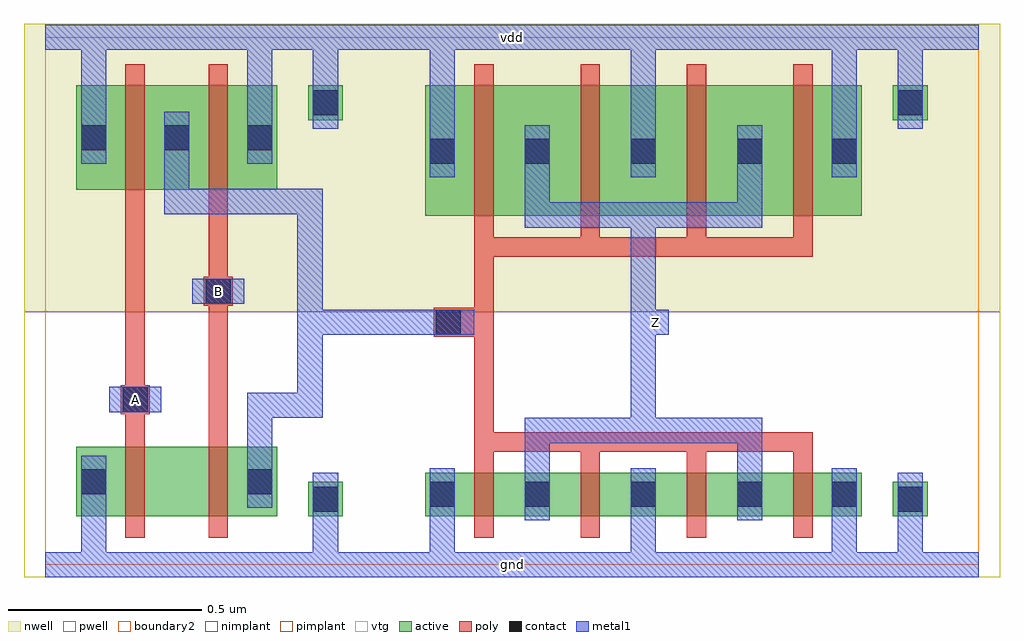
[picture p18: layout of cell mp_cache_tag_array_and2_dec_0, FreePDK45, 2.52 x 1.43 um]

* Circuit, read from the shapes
.subckt mp_cache_tag_array_and2_dec_0 A B Z gnd vdd
M1 mp_cache_tag_array_pnand2_0/mp_cache_tag_array_nmos_m1_w0_180_sm1_dactive_2/D A gnd gnd nfet w=0.18u l=0.05u
M2 mp_cache_tag_array_pinv_0_1/A B mp_cache_tag_array_pnand2_0/mp_cache_tag_array_nmos_m1_w0_180_sm1_dactive_2/D gnd nfet w=0.18u l=0.05u
M3 Z mp_cache_tag_array_pinv_0_1/A gnd gnd nfet w=0.1125u l=0.05u m=4
M4 mp_cache_tag_array_pinv_0_1/A A vdd vdd pfet w=0.27u l=0.05u
M5 vdd B mp_cache_tag_array_pinv_0_1/A vdd pfet w=0.27u l=0.05u
M6 Z mp_cache_tag_array_pinv_0_1/A vdd vdd pfet w=0.3375u l=0.05u m=4
.ends

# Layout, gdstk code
import gdstk
lib = gdstk.Library(unit=1e-6, precision=5e-10)
def R(c, l, rs):  # rectangles x0, y0, x1, y1
    for r in rs: c.add(gdstk.rectangle(r[:2], r[2:], *l))
def A(c, l, x, y, w, h, nx, ny, dx, dy):  # array of equal rectangles
    R(c, l, [(x+i*dx, y+j*dy, x+i*dx+w, y+j*dy+h) for i in range(nx) for j in range(ny)])
active = (1, 0)
pwell = (2, 0)
nwell = (3, 0)
nimplant = (4, 0)
pimplant = (5, 0)
vtg = (6, 0)
poly = (9, 0)
contact = (10, 0)
metal1 = (11, 0)
boundary2 = (239, 0)

mp_cache_tag_array_conta = lib.new_cell('mp_cache_tag_array_contact_11')
R(mp_cache_tag_array_conta, active, [(0,0.0225,0.09,0.1125)])
R(mp_cache_tag_array_conta, nwell, [(-0.055,-0.0325,0.145,0.1675)])
R(mp_cache_tag_array_conta, pimplant, [(0,0.0225,0.09,0.1125)])
R(mp_cache_tag_array_conta, contact, [(0.0125,0.035,0.0775,0.1)])
R(mp_cache_tag_array_conta, metal1, [(0.0125,0,0.0775,0.135)])
R(mp_cache_tag_array_conta, boundary2, [(-0.055,-0.0325,0.145,0.1675)])

mp_cache_tag_array_pmos_ = lib.new_cell('mp_cache_tag_array_pmos_m1_w0_270_sm1_dm1')
R(mp_cache_tag_array_pmos_, active, [(0,0,0.305,0.27)])
R(mp_cache_tag_array_pmos_, nwell, [(-0.08,-0.08,0.385,0.35)])
R(mp_cache_tag_array_pmos_, pimplant, [(0,0,0.305,0.27)])
R(mp_cache_tag_array_pmos_, vtg, [(-0.08,-0.08,0.385,0.35)])
R(mp_cache_tag_array_pmos_, poly, [(0.1275,-0.055,0.1775,0.325), (0.1275,-0.055,0.1775,0.325)])
R(mp_cache_tag_array_pmos_, metal1, [(0.0125,0.0675,0.0775,0.2025), (0.2275,0.0675,0.2925,0.2025)])
R(mp_cache_tag_array_pmos_, boundary2, [(-0.08,-0.08,0.385,0.35)])
mp_cache_tag_array_pmos_.add(gdstk.Reference(mp_cache_tag_array_conta, (0,0.0675)))
mp_cache_tag_array_pmos_.add(gdstk.Reference(mp_cache_tag_array_conta, (0.215,0.0675)))
mp_cache_tag_array_pmos_.add(gdstk.Label('G', (0.1525,0.135), layer=9, texttype=0))
mp_cache_tag_array_pmos_.add(gdstk.Label('S', (0.045,0.135), layer=11, texttype=0))
mp_cache_tag_array_pmos_.add(gdstk.Label('D', (0.26,0.135), layer=11, texttype=0))

c_mp_cache_tag_array_conta = lib.new_cell('mp_cache_tag_array_contact_10')
R(c_mp_cache_tag_array_conta, active, [(0,0.0225,0.09,0.1125)])
R(c_mp_cache_tag_array_conta, pwell, [(-0.055,-0.0325,0.145,0.1675)])
R(c_mp_cache_tag_array_conta, nimplant, [(0,0.0225,0.09,0.1125)])
R(c_mp_cache_tag_array_conta, contact, [(0.0125,0.035,0.0775,0.1)])
R(c_mp_cache_tag_array_conta, metal1, [(0.0125,0,0.0775,0.135)])
R(c_mp_cache_tag_array_conta, boundary2, [(-0.055,-0.0325,0.145,0.1675)])

mp_cache_tag_array_nmos_ = lib.new_cell('mp_cache_tag_array_nmos_m1_w0_180_sm1_dactive')
R(mp_cache_tag_array_nmos_, active, [(0,0,0.305,0.18), (0.215,0.045,0.305,0.135)])
R(mp_cache_tag_array_nmos_, pwell, [(-0.08,-0.08,0.385,0.26)])
R(mp_cache_tag_array_nmos_, nimplant, [(0,0,0.305,0.18)])
R(mp_cache_tag_array_nmos_, vtg, [(-0.08,-0.08,0.385,0.26)])
R(mp_cache_tag_array_nmos_, poly, [(0.1275,-0.055,0.1775,0.235), (0.1275,-0.055,0.1775,0.235)])
R(mp_cache_tag_array_nmos_, metal1, [(0.0125,0.0225,0.0775,0.1575)])
R(mp_cache_tag_array_nmos_, boundary2, [(-0.08,-0.08,0.385,0.26)])
mp_cache_tag_array_nmos_.add(gdstk.Reference(c_mp_cache_tag_array_conta, (0,0.0225)))
mp_cache_tag_array_nmos_.add(gdstk.Label('G', (0.1525,0.09), layer=9, texttype=0))
mp_cache_tag_array_nmos_.add(gdstk.Label('S', (0.045,0.09), layer=11, texttype=0))
mp_cache_tag_array_nmos_.add(gdstk.Label('D', (0.26,0.09), layer=1, texttype=0))

c_mp_cache_tag_array_nmos_ = lib.new_cell('mp_cache_tag_array_nmos_m1_w0_180_sactive_dm1')
R(c_mp_cache_tag_array_nmos_, active, [(0,0,0.305,0.18), (0,0.045,0.09,0.135)])
R(c_mp_cache_tag_array_nmos_, pwell, [(-0.08,-0.08,0.385,0.26)])
R(c_mp_cache_tag_array_nmos_, nimplant, [(0,0,0.305,0.18)])
R(c_mp_cache_tag_array_nmos_, vtg, [(-0.08,-0.08,0.385,0.26)])
R(c_mp_cache_tag_array_nmos_, poly, [(0.1275,-0.055,0.1775,0.235), (0.1275,-0.055,0.1775,0.235)])
R(c_mp_cache_tag_array_nmos_, metal1, [(0.2275,0.0225,0.2925,0.1575)])
R(c_mp_cache_tag_array_nmos_, boundary2, [(-0.08,-0.08,0.385,0.26)])
c_mp_cache_tag_array_nmos_.add(gdstk.Reference(c_mp_cache_tag_array_conta, (0.215,0.0225)))
c_mp_cache_tag_array_nmos_.add(gdstk.Label('G', (0.1525,0.09), layer=9, texttype=0))
c_mp_cache_tag_array_nmos_.add(gdstk.Label('S', (0.045,0.09), layer=1, texttype=0))
c_mp_cache_tag_array_nmos_.add(gdstk.Label('D', (0.26,0.09), layer=11, texttype=0))

c_mp_cache_tag_array_conta_ = lib.new_cell('mp_cache_tag_array_contact_12')
R(c_mp_cache_tag_array_conta_, active, [(0,0.0225,0.09,0.1125)])
R(c_mp_cache_tag_array_conta_, nwell, [(-0.055,-0.0325,0.145,0.1675)])
R(c_mp_cache_tag_array_conta_, nimplant, [(0,0.0225,0.09,0.1125)])
R(c_mp_cache_tag_array_conta_, contact, [(0.0125,0.035,0.0775,0.1)])
R(c_mp_cache_tag_array_conta_, metal1, [(0.0125,0,0.0775,0.135)])
R(c_mp_cache_tag_array_conta_, boundary2, [(-0.055,-0.0325,0.145,0.1675)])

c_mp_cache_tag_array_conta__ = lib.new_cell('mp_cache_tag_array_contact_13')
R(c_mp_cache_tag_array_conta__, active, [(0,0.0225,0.09,0.1125)])
R(c_mp_cache_tag_array_conta__, pwell, [(-0.055,-0.0325,0.145,0.1675)])
R(c_mp_cache_tag_array_conta__, pimplant, [(0,0.0225,0.09,0.1125)])
R(c_mp_cache_tag_array_conta__, contact, [(0.0125,0.035,0.0775,0.1)])
R(c_mp_cache_tag_array_conta__, metal1, [(0.0125,0,0.0775,0.135)])
R(c_mp_cache_tag_array_conta__, boundary2, [(-0.055,-0.0325,0.145,0.1675)])

c_mp_cache_tag_array_conta___ = lib.new_cell('mp_cache_tag_array_contact_14')
R(c_mp_cache_tag_array_conta___, poly, [(0.03,0,0.105,0.075)])
R(c_mp_cache_tag_array_conta___, contact, [(0.035,0.005,0.1,0.07)])
R(c_mp_cache_tag_array_conta___, metal1, [(0,0.005,0.135,0.07)])
R(c_mp_cache_tag_array_conta___, boundary2, [(0,0,0.135,0.075)])

mp_cache_tag_array_pnand = lib.new_cell('mp_cache_tag_array_pnand2')
R(mp_cache_tag_array_pnand, pwell, [(-0.055,-0.0325,0.9575,0.655)])
R(mp_cache_tag_array_pnand, nwell, [(-0.055,0.655,0.9575,1.4)])
R(mp_cache_tag_array_pnand, vtg, [(-0.055,-0.0325,0.9575,0.655), (-0.055,0.655,0.9575,1.4)])
R(mp_cache_tag_array_pnand, poly, [(0.2075,0.36,0.2575,0.915), (0.4225,0.36,0.4725,0.915), (0.2075,0.39,0.2325,0.465), (0.4225,0.67,0.4475,0.745)])
R(mp_cache_tag_array_pnand, metal1, [(0,-0.0325,0.9025,0.0325), (0.0925,-0.0325,0.1575,0.1475), (0.6925,0,0.7575,0.17), (0.5225,0.2825,0.5875,0.4125), (0.5225,0.38,0.5875,0.445), (0.555,0.38,0.685,0.445), (0.6525,0.38,0.7175,0.445), (0.165,0.395,0.3,0.46), (0.6525,0.4125,0.7175,0.94), (0.38,0.675,0.515,0.74), (0.3075,0.9075,0.3725,0.9725), (0.34,0.9075,0.685,0.9725), (0.6525,0.9075,0.7175,0.9725), (0.3075,0.94,0.3725,1.0375), (0.0925,1.0375,0.1575,1.3975), (0.5225,1.0375,0.5875,1.3975), (0.6925,1.195,0.7575,1.365), (0,1.3325,0.9025,1.3975)])
R(mp_cache_tag_array_pnand, boundary2, [(0,0,0.9025,1.365), (0,0,0.9025,1.365)])
mp_cache_tag_array_pnand.add(gdstk.Reference(mp_cache_tag_array_pmos_, (0.08,0.97)))
mp_cache_tag_array_pnand.add(gdstk.Reference(mp_cache_tag_array_pmos_, (0.295,0.97)))
mp_cache_tag_array_pnand.add(gdstk.Reference(mp_cache_tag_array_nmos_, (0.08,0.125)))
mp_cache_tag_array_pnand.add(gdstk.Reference(c_mp_cache_tag_array_nmos_, (0.295,0.125)))
mp_cache_tag_array_pnand.add(gdstk.Reference(c_mp_cache_tag_array_conta_, (0.68,1.1275)))
mp_cache_tag_array_pnand.add(gdstk.Reference(c_mp_cache_tag_array_conta__, (0.68,0.1025)))
mp_cache_tag_array_pnand.add(gdstk.Reference(c_mp_cache_tag_array_conta___, (0.165,0.39)))
mp_cache_tag_array_pnand.add(gdstk.Reference(c_mp_cache_tag_array_conta___, (0.38,0.67)))
mp_cache_tag_array_pnand.add(gdstk.Label('Z', (0.685,0.94), layer=11, texttype=0))
mp_cache_tag_array_pnand.add(gdstk.Label('gnd', (0.451,0), layer=11, texttype=0))
mp_cache_tag_array_pnand.add(gdstk.Label('vdd', (0.451,1.365), layer=11, texttype=0))
mp_cache_tag_array_pnand.add(gdstk.Label('A', (0.2325,0.4275), layer=11, texttype=0))
mp_cache_tag_array_pnand.add(gdstk.Label('B', (0.4475,0.7075), layer=11, texttype=0))

c_mp_cache_tag_array_pmos_ = lib.new_cell('mp_cache_tag_array_pmos_m4_w0_338_sm1_dm1_da_p')
R(c_mp_cache_tag_array_pmos_, active, [(0,0,1.13,0.3375)])
R(c_mp_cache_tag_array_pmos_, nwell, [(-0.08,-0.08,1.21,0.4175)])
R(c_mp_cache_tag_array_pmos_, pimplant, [(0,0,1.13,0.3375)])
R(c_mp_cache_tag_array_pmos_, vtg, [(-0.08,-0.08,1.21,0.4175)])
A(c_mp_cache_tag_array_pmos_, poly, 0.1275, -0.055, 0.05, 0.4475, 4, 1, 0.275, 0)
R(c_mp_cache_tag_array_pmos_, poly, [(0.1275,-0.105,1.0025,-0.055)])
A(c_mp_cache_tag_array_pmos_, metal1, 0.0125, 0.1, 0.065, 0.135, 3, 1, 0.52, 0)
R(c_mp_cache_tag_array_pmos_, metal1, [(0.2575,-0.03,0.8725,0.035), (0.2575,0.005,0.3225,0.17), (0.8075,0.005,0.8725,0.17)])
R(c_mp_cache_tag_array_pmos_, boundary2, [(-0.08,-0.105,1.21,0.4175)])
c_mp_cache_tag_array_pmos_.add(gdstk.Reference(mp_cache_tag_array_conta, (0,0.1)))
c_mp_cache_tag_array_pmos_.add(gdstk.Reference(mp_cache_tag_array_conta, (0.245,0.1)))
c_mp_cache_tag_array_pmos_.add(gdstk.Reference(mp_cache_tag_array_conta, (0.52,0.1)))
c_mp_cache_tag_array_pmos_.add(gdstk.Reference(mp_cache_tag_array_conta, (0.795,0.1)))
c_mp_cache_tag_array_pmos_.add(gdstk.Reference(mp_cache_tag_array_conta, (1.04,0.1)))
c_mp_cache_tag_array_pmos_.add(gdstk.Label('G', (0.565,-0.08), layer=9, texttype=0))
c_mp_cache_tag_array_pmos_.add(gdstk.Label('S', (1.085,0.1675), layer=11, texttype=0))
c_mp_cache_tag_array_pmos_.add(gdstk.Label('S', (0.045,0.1675), layer=11, texttype=0))
c_mp_cache_tag_array_pmos_.add(gdstk.Label('S', (0.565,0.1675), layer=11, texttype=0))
c_mp_cache_tag_array_pmos_.add(gdstk.Label('D', (0.565,0.0025), layer=11, texttype=0))

c_mp_cache_tag_array_nmos__ = lib.new_cell('mp_cache_tag_array_nmos_m4_w0_113_sm1_dm1_da_p')
R(c_mp_cache_tag_array_nmos__, active, [(0,0,1.13,0.1125)])
R(c_mp_cache_tag_array_nmos__, pwell, [(-0.08,-0.08,1.21,0.1925)])
R(c_mp_cache_tag_array_nmos__, nimplant, [(0,0,1.13,0.1125)])
R(c_mp_cache_tag_array_nmos__, vtg, [(-0.08,-0.08,1.21,0.1925)])
A(c_mp_cache_tag_array_nmos__, poly, 0.1275, -0.055, 0.05, 0.2225, 4, 1, 0.275, 0)
R(c_mp_cache_tag_array_nmos__, poly, [(0.1275,0.1675,1.0025,0.2175)])
A(c_mp_cache_tag_array_nmos__, metal1, 0.0125, -0.01, 0.065, 0.135, 3, 1, 0.52, 0)
R(c_mp_cache_tag_array_nmos__, metal1, [(0.2575,0.055,0.3225,0.22), (0.8075,0.055,0.8725,0.22), (0.2575,0.19,0.8725,0.255)])
R(c_mp_cache_tag_array_nmos__, boundary2, [(-0.08,-0.08,1.21,0.255)])
c_mp_cache_tag_array_nmos__.add(gdstk.Reference(c_mp_cache_tag_array_conta, (0,-0.01)))
c_mp_cache_tag_array_nmos__.add(gdstk.Reference(c_mp_cache_tag_array_conta, (0.245,-0.01)))
c_mp_cache_tag_array_nmos__.add(gdstk.Reference(c_mp_cache_tag_array_conta, (0.52,-0.01)))
c_mp_cache_tag_array_nmos__.add(gdstk.Reference(c_mp_cache_tag_array_conta, (0.795,-0.01)))
c_mp_cache_tag_array_nmos__.add(gdstk.Reference(c_mp_cache_tag_array_conta, (1.04,-0.01)))
c_mp_cache_tag_array_nmos__.add(gdstk.Label('G', (0.565,0.1925), layer=9, texttype=0))
c_mp_cache_tag_array_nmos__.add(gdstk.Label('S', (1.085,0.0575), layer=11, texttype=0))
c_mp_cache_tag_array_nmos__.add(gdstk.Label('S', (0.045,0.0575), layer=11, texttype=0))
c_mp_cache_tag_array_nmos__.add(gdstk.Label('S', (0.565,0.0575), layer=11, texttype=0))
c_mp_cache_tag_array_nmos__.add(gdstk.Label('D', (0.565,0.2225), layer=11, texttype=0))

mp_cache_tag_array_pinv_ = lib.new_cell('mp_cache_tag_array_pinv_0')
R(mp_cache_tag_array_pinv_, pwell, [(-0.055,-0.0325,1.5675,0.655)])
R(mp_cache_tag_array_pinv_, nwell, [(-0.055,0.655,1.5675,1.4)])
R(mp_cache_tag_array_pinv_, vtg, [(-0.055,-0.0325,1.5675,0.655), (-0.055,0.655,1.5675,1.4)])
R(mp_cache_tag_array_pinv_, poly, [(0.2075,0.3425,0.2575,0.7975), (0.14,0.59,0.2075,0.665)])
A(mp_cache_tag_array_pinv_, metal1, 0.0925, -0.0325, 0.065, 0.1475, 3, 1, 0.52, 0)
A(mp_cache_tag_array_pinv_, metal1, 0.0925, 1.0025, 0.065, 0.395, 3, 1, 0.52, 0)
R(mp_cache_tag_array_pinv_, metal1, [(0,-0.0325,1.5125,0.0325), (1.3025,0,1.3675,0.17), (0.6125,0.315,0.6775,0.9375), (0.0725,0.595,0.2075,0.66), (0.645,0.595,0.71,0.66), (1.3025,1.195,1.3675,1.365), (0,1.3325,1.5125,1.3975)])
R(mp_cache_tag_array_pinv_, boundary2, [(0,0,1.5125,1.365), (0,0,1.5125,1.365)])
mp_cache_tag_array_pinv_.add(gdstk.Reference(c_mp_cache_tag_array_pmos_, (0.08,0.9025)))
mp_cache_tag_array_pinv_.add(gdstk.Reference(c_mp_cache_tag_array_nmos__, (0.08,0.125)))
mp_cache_tag_array_pinv_.add(gdstk.Reference(c_mp_cache_tag_array_conta_, (1.29,1.1275)))
mp_cache_tag_array_pinv_.add(gdstk.Reference(c_mp_cache_tag_array_conta__, (1.29,0.1025)))
mp_cache_tag_array_pinv_.add(gdstk.Reference(c_mp_cache_tag_array_conta___, (0.0725,0.59)))
mp_cache_tag_array_pinv_.add(gdstk.Label('A', (0.14,0.6275), layer=11, texttype=0))
mp_cache_tag_array_pinv_.add(gdstk.Label('Z', (0.6775,0.6275), layer=11, texttype=0))
mp_cache_tag_array_pinv_.add(gdstk.Label('gnd', (0.756,0), layer=11, texttype=0))
mp_cache_tag_array_pinv_.add(gdstk.Label('vdd', (0.756,1.365), layer=11, texttype=0))

mp_cache_tag_array_and2_ = lib.new_cell('mp_cache_tag_array_and2_dec_0')
R(mp_cache_tag_array_and2_, metal1, [(0,-0.0325,2.415,0.0325), (0.165,0.395,0.3,0.46), (0.6525,0.595,0.7175,0.66), (0.685,0.595,1.0425,0.66), (1.5475,0.595,1.6125,0.66), (0.6525,0.6275,0.7175,0.94), (0.38,0.675,0.515,0.74), (0,1.3325,2.415,1.3975)])
R(mp_cache_tag_array_and2_, boundary2, [(0,0,2.415,1.365)])
mp_cache_tag_array_and2_.add(gdstk.Reference(mp_cache_tag_array_pnand, (0,0)))
mp_cache_tag_array_and2_.add(gdstk.Reference(mp_cache_tag_array_pinv_, (0.9025,0)))
mp_cache_tag_array_and2_.add(gdstk.Label('Z', (1.58,0.6275), layer=11, texttype=0))
mp_cache_tag_array_and2_.add(gdstk.Label('A', (0.2325,0.4275), layer=11, texttype=0))
mp_cache_tag_array_and2_.add(gdstk.Label('B', (0.4475,0.7075), layer=11, texttype=0))
mp_cache_tag_array_and2_.add(gdstk.Label('gnd', (1.2075,0), layer=11, texttype=0))
mp_cache_tag_array_and2_.add(gdstk.Label('vdd', (1.2075,1.365), layer=11, texttype=0))

lib.write_gds('mp_cache_tag_array_and2_dec_0.gds')
